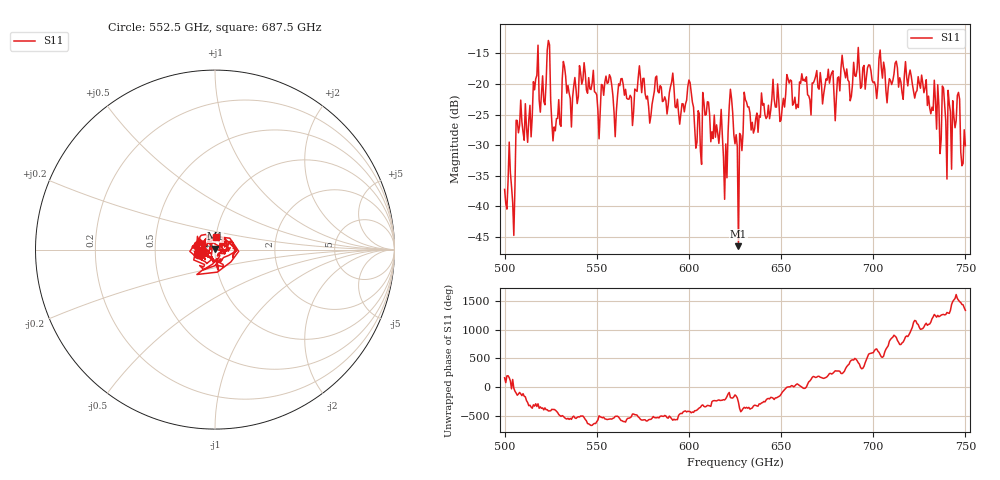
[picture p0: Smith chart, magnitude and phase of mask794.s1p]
!Created with skrf (http://scikit-rf.org).
# GHz S MA R 50.0
!freq magS11 angS11
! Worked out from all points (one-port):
!   401 points, 500 GHz to 750 GHz, reference 50 ohm
!   lowest |S11| = -46.5 dB at 626.9 GHz (marker M1), VSWR 1.01, Z = 50 + j0.472 ohm
!   |S11| at or under -10 dB: start of sweep to end of sweep
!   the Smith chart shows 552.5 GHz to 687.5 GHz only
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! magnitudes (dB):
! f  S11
! 500 GHz  -37.2
! 504.4 GHz  -39.3
! 507.5 GHz  -28.0
! 513.8 GHz  -23.5
! 516.9 GHz  -19.2
! 520.6 GHz  -18.7
! 523.8 GHz  -12.9
! 526.9 GHz  -27.0
! 531.2 GHz  -19.2
! 556.2 GHz  -19.8
! 560 GHz  -28.6
! 562.5 GHz  -20.3
! 593.8 GHz  -22.5
! 600.6 GHz  -19.8
! 605.6 GHz  -24.9
! 608.8 GHz  -25.1
! 619.4 GHz  -38.8
! 622.5 GHz  -20.9
! 625 GHz  -29.8
! 626.9 GHz  -46.5
! 631.2 GHz  -23.0
! 635 GHz  -28.0
! 656.2 GHz  -23.5
! 687.5 GHz  -22.8
! 718.8 GHz  -20.3
! 741.2 GHz  -23.2
! 745.6 GHz  -21.9
! 750 GHz  -30.1
